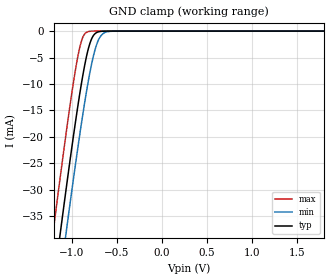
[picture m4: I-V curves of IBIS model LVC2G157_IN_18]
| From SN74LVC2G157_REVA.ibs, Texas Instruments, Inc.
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[Model]   LVC2G157_IN_18
Model_type  Input
Vinl=0.5775
Vinh=1.2675
| variable   typ   min   max
C_comp   3.50pF   3.02pF   4.30pF
[Temperature Range]   40   100   -40
| Ambient temperature   25   85   -40
[Voltage range]   1.8   1.65   1.95
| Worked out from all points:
|   GND clamp passes 1 mA (typ) near -0.77 V on its own axis
[GND Clamp]
| LVC2G157_IN_18
|   Voltage   I(typ)   I(min)   I(max)
-1.8V     -129.8mA   -137.8mA   -119.7mA
-1.205V   -48.27mA   -56.56mA   -37.63mA
-1.125V   -37.77mA   -46.06mA   -27.13mA
-1.06V    -29.44mA   -37.69mA   -18.89mA
-980mV    -19.61mA   -27.69mA   -9.485mA
-925mV    -13.29mA   -21.11mA   -4.122mA
-880mV    -8.606mA   -15.99mA   -1.263mA
-835mV    -4.656mA   -11.25mA   -214.1uA
-780mV    -1.472mA   -6.227mA   -17.15uA
-725mV    -285.9uA   -2.596mA   -1.294uA
-615mV    -6.479uA   -167.8uA   -7.305nA
1.8V      3.326pA    6.142pA    3.026pA
